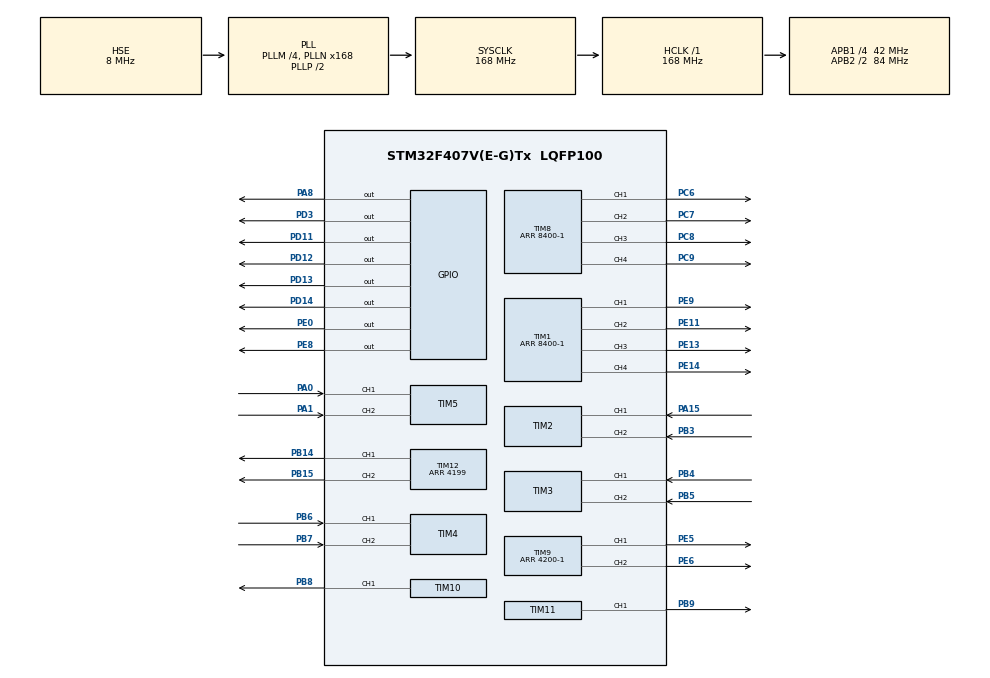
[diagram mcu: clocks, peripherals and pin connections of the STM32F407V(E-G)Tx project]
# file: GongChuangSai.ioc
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Mcu.Family=STM32F4
Mcu.Name=STM32F407V(E-G)Tx
Mcu.Package=LQFP100
NVIC.PriorityGroup=NVIC_PRIORITYGROUP_4
NVIC.TIM6_DAC_IRQn=true\:4\:0\:true\:false\:true\:true\:true\:true
PA0-WKUP.Signal=S_TIM5_CH1
PA1.Signal=S_TIM5_CH2
PA13.Mode=Serial_Wire
PA13.Signal=SYS_JTMS-SWDIO
PA14.Mode=Serial_Wire
PA14.Signal=SYS_JTCK-SWCLK
PA15.Signal=S_TIM2_CH1_ETR
PA8.Signal=GPIO_Output
PB14.Signal=S_TIM12_CH1
PB15.Signal=S_TIM12_CH2
PB3.Signal=S_TIM2_CH2
PB4.Signal=S_TIM3_CH1
PB5.Signal=S_TIM3_CH2
PB6.Signal=S_TIM4_CH1
PB7.Signal=S_TIM4_CH2
PB8.Signal=S_TIM10_CH1
PB9.Signal=S_TIM11_CH1
PC6.Signal=S_TIM8_CH1
PC7.Signal=S_TIM8_CH2
PC8.Signal=S_TIM8_CH3
PC9.Signal=S_TIM8_CH4
PD11.Signal=GPIO_Output
PD12.Signal=GPIO_Output
PD13.Signal=GPIO_Output
PD14.Signal=GPIO_Output
PD3.Signal=GPIO_Output
PE0.Signal=GPIO_Output
PE11.Signal=S_TIM1_CH2
PE13.Signal=S_TIM1_CH3
PE14.Signal=S_TIM1_CH4
PE5.Signal=S_TIM9_CH1
PE6.Signal=S_TIM9_CH2
PE8.Signal=GPIO_Output
PE9.Signal=S_TIM1_CH1
PH0-OSC_IN.Mode=HSE-External-Oscillator
PH0-OSC_IN.Signal=RCC_OSC_IN
PH1-OSC_OUT.Mode=HSE-External-Oscillator
PH1-OSC_OUT.Signal=RCC_OSC_OUT
ProjectManager.HeapSize=0x200
ProjectManager.StackSize=0x400
ProjectManager.TargetToolchain=MDK-ARM V5.32
RCC.48MHZClocksFreq_Value=84000000
RCC.AHBFreq_Value=168000000
RCC.APB1CLKDivider=RCC_HCLK_DIV4
RCC.APB1Freq_Value=42000000
RCC.APB1TimFreq_Value=84000000
RCC.APB2CLKDivider=RCC_HCLK_DIV2
RCC.APB2Freq_Value=84000000
RCC.APB2TimFreq_Value=168000000
RCC.CortexFreq_Value=168000000
RCC.HCLKFreq_Value=168000000
RCC.HSE_VALUE=8000000
RCC.HSI_VALUE=16000000
RCC.LSE_VALUE=32768
RCC.PLLM=4
RCC.PLLN=168
RCC.PLLSourceVirtual=RCC_PLLSOURCE_HSE
RCC.SYSCLKFreq_VALUE=168000000
RCC.SYSCLKSource=RCC_SYSCLKSOURCE_PLLCLK
RCC.VCOOutputFreq_Value=336000000
SH.S_TIM10_CH1.0=TIM10_CH1,PWM Generation1 CH1
SH.S_TIM11_CH1.0=TIM11_CH1,PWM Generation1 CH1
SH.S_TIM12_CH1.0=TIM12_CH1,PWM Generation1 CH1
SH.S_TIM12_CH2.0=TIM12_CH2,PWM Generation2 CH2
SH.S_TIM1_CH1.0=TIM1_CH1,PWM Generation1 CH1
SH.S_TIM1_CH2.0=TIM1_CH2,PWM Generation2 CH2
SH.S_TIM1_CH3.0=TIM1_CH3,PWM Generation3 CH3
SH.S_TIM1_CH4.0=TIM1_CH4,PWM Generation4 CH4
SH.S_TIM2_CH1_ETR.0=TIM2_CH1,Encoder_Interface
SH.S_TIM2_CH2.0=TIM2_CH2,Encoder_Interface
SH.S_TIM3_CH1.0=TIM3_CH1,Encoder_Interface
SH.S_TIM3_CH2.0=TIM3_CH2,Encoder_Interface
SH.S_TIM4_CH1.0=TIM4_CH1,Encoder_Interface
SH.S_TIM4_CH2.0=TIM4_CH2,Encoder_Interface
SH.S_TIM5_CH1.0=TIM5_CH1,Encoder_Interface
SH.S_TIM5_CH2.0=TIM5_CH2,Encoder_Interface
SH.S_TIM8_CH1.0=TIM8_CH1,PWM Generation1 CH1
SH.S_TIM8_CH2.0=TIM8_CH2,PWM Generation2 CH2
SH.S_TIM8_CH3.0=TIM8_CH3,PWM Generation3 CH3
SH.S_TIM8_CH4.0=TIM8_CH4,PWM Generation4 CH4
SH.S_TIM9_CH1.0=TIM9_CH1,PWM Generation1 CH1
SH.S_TIM9_CH2.0=TIM9_CH2,PWM Generation2 CH2
TIM1.AutoReloadPreload=TIM_AUTORELOAD_PRELOAD_ENABLE
TIM1.Channel-PWM\ Generation1\ CH1=TIM_CHANNEL_1
TIM1.Channel-PWM\ Generation2\ CH2=TIM_CHANNEL_2
TIM1.Channel-PWM\ Generation3\ CH3=TIM_CHANNEL_3
TIM1.Channel-PWM\ Generation4\ CH4=TIM_CHANNEL_4
TIM1.Period=8400-1
TIM10.AutoReloadPreload=TIM_AUTORELOAD_PRELOAD_ENABLE
TIM10.Channel=TIM_CHANNEL_1
TIM10.Period=4200-1
TIM11.AutoReloadPreload=TIM_AUTORELOAD_PRELOAD_ENABLE
TIM11.Channel=TIM_CHANNEL_1
TIM11.Period=4200-1
TIM12.Channel-PWM\ Generation1\ CH1=TIM_CHANNEL_1
TIM12.Channel-PWM\ Generation2\ CH2=TIM_CHANNEL_2
TIM12.Period=4199
TIM2.EncoderMode=TIM_ENCODERMODE_TI12
TIM2.IC1Filter=6
TIM2.IC2Filter=6
TIM3.EncoderMode=TIM_ENCODERMODE_TI12
TIM3.IC1Filter=6
TIM3.IC2Filter=6
TIM4.EncoderMode=TIM_ENCODERMODE_TI12
TIM4.IC1Filter=6
TIM4.IC2Filter=6
TIM5.EncoderMode=TIM_ENCODERMODE_TI12
TIM5.IC1Filter=6
TIM5.IC2Filter=6
TIM6.Period=999
TIM6.Prescaler=83+1
TIM8.AutomaticOutput=TIM_AUTOMATICOUTPUT_DISABLE
TIM8.BreakState=TIM_BREAK_DISABLE
TIM8.Channel-PWM\ Generation1\ CH1=TIM_CHANNEL_1
TIM8.Channel-PWM\ Generation2\ CH2=TIM_CHANNEL_2
TIM8.Channel-PWM\ Generation3\ CH3=TIM_CHANNEL_3
TIM8.Channel-PWM\ Generation4\ CH4=TIM_CHANNEL_4
TIM8.LockLevel=TIM_LOCKLEVEL_OFF
TIM8.OffStateIDLEMode=TIM_OSSI_DISABLE
TIM8.OffStateRunMode=TIM_OSSR_DISABLE
TIM8.Period=8400-1
TIM9.AutoReloadPreload=TIM_AUTORELOAD_PRELOAD_ENABLE
TIM9.Channel-PWM\ Generation1\ CH1=TIM_CHANNEL_1
TIM9.Channel-PWM\ Generation2\ CH2=TIM_CHANNEL_2
TIM9.Period=4200-1
VP_TIM10_VS_ClockSourceINT.Mode=Enable_Timer
VP_TIM11_VS_ClockSourceINT.Mode=Enable_Timer
VP_TIM6_VS_ClockSourceINT.Mode=Enable_Timer
VP_TIM8_VS_ClockSourceINT.Mode=Internal
board=custom

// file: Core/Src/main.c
/* USER CODE BEGIN Header */
/**
  ******************************************************************************
  * @file           : main.c
  * @brief          : Main program body
  ******************************************************************************
  * @attention
  *
  * Copyright (c) 2026 STMicroelectronics.
  * All rights reserved.
  *
  * This software is licensed under terms that can be found in the LICENSE file
  * in the root directory of this software component.
  * If no LICENSE file comes with this software, it is provided AS-IS.
  *
  ******************************************************************************
  */
/* USER CODE END Header */
#include "main.h"
#include "tim.h"
#include "gpio.h"
#include "stm32f4xx_hal.h"
#include "bsp_oled.h"
#include <stdlib.h>
/* USER CODE BEGIN Includes */
#include "motor.h"
#include "mecanum_chassis.h"

/* USER CODE END Includes */

/* USER CODE BEGIN PV */
Motor_t motor_left_front;   // 电机A = 左前轮
Motor_t motor_right_front;  // 电机B = 右前轮
Motor_t motor_left_back;    // 电机C = 左后轮
Motor_t motor_right_back;   // 电机D = 右后轮

MecanumChassis_t chassis;

/* USER CODE END PV */

void SystemClock_Config(void);

/* USER CODE BEGIN 0 */
#define PULSE_PER_METER  6500    /* 实测：走1米约6500脉冲 */
#define SPEED            1000    /* 前进速度，脉冲/秒 */
/* USER CODE END 0 */

int main(void)
{

  /* USER CODE BEGIN 1 */
   int32_t enc_start = (int32_t)__HAL_TIM_GET_COUNTER(&htim2);   /* A轮编码器 */
  /* USER CODE END 1 */

  /* MCU Configuration--------------------------------------------------------*/

  /* Reset of all peripherals, Initializes the Flash interface and the Systick. */
  HAL_Init();

  /* Configure the system clock */
  SystemClock_Config();

  /* Initialize all configured peripherals */
  MX_GPIO_Init();
  MX_TIM1_Init();
  MX_TIM2_Init();
  MX_TIM3_Init();
  MX_TIM4_Init();
  MX_TIM5_Init();
  MX_TIM6_Init();
  MX_TIM9_Init();
  MX_TIM10_Init();
  MX_TIM11_Init();
  MX_TIM12_Init();
  MX_TIM8_Init();
  /* USER CODE BEGIN 2 */
	OLED_Init();
	/* 3. 高级定时器TIM1开启主输出（必须！否则无PWM） */
	__HAL_TIM_MOE_ENABLE(&htim1);

    /* 4. 四个电机初始化（完全对应引脚表） */
    // 电机A（左前）：PWM=TIM10_CH1+TIM11_CH1；编码器=TIM2
    Motor_Init(&motor_left_front,
               &htim10, TIM_CHANNEL_1,  4199,
               &htim11, TIM_CHANNEL_1,  4199,
               &htim2,
               4.0f, 0.1f, 0.0f,1,1
               );

    // 电机B（右前）：PWM=TIM9_CH1+TIM9_CH2；编码器=TIM3
    Motor_Init(&motor_right_front,
               &htim9, TIM_CHANNEL_1,  4199,
               &htim9, TIM_CHANNEL_2,  4199,
               &htim3,
               4.0f, 0.1f, 0.0f,1,-1
               );

    // 电机C（左后）：PWM=TIM1_CH1+TIM1_CH2；编码器=TIM4
    Motor_Init(&motor_left_back,
               &htim1, TIM_CHANNEL_1,  8399,
               &htim1, TIM_CHANNEL_2,  8399,
               &htim4,
               4.0f, 0.1f, 0.0f,-1,1
               );

    // 电机D（右后）：PWM=TIM1_CH3+TIM1_CH4；编码器=TIM5
    Motor_Init(&motor_right_back,
               &htim1, TIM_CHANNEL_3,  8399,
               &htim1, TIM_CHANNEL_4,  8399,
               &htim5,
               4.0f, 0.1f, 0.0f,-1,-1
               );

//kp	比例增益	越大响应越快，但过大会振荡
//ki	积分增益	消除稳态误差，过大会超调/积分饱和
//kd	微分增益	抑制超调，但对噪声敏感

    /* 5. 底盘初始化 */
    MecanumChassis_Init(&chassis,
                        &motor_left_front, &motor_right_front,
                        &motor_left_back, &motor_right_back,
                        0.04f, 0.093f, 0.11f,
                        1.0f, 440.0f);
//wheel_radius		    轮子半径						m			卡尺测量，如 50mm 轮子 = 0.05f
//wheel_base_half	    半轴距（前后轮中心距的一半）	m			测量前后轮中心距离 ÷ 2
//track_width_half	    半轮距（左右轮中心距的一半）	m			测量左右轮中心距离 ÷ 2
//gear_ratio			减速比							—			这里直接填1
//enc_ppr_x4			编码器 4 倍频每转脉冲数			—			编码器线数 × 4，如 500 线 = 2000.0f

	/* 6. 配置位置环PID参数（示例值，需现场整定） */
	chassis.pid_x.kp = 3.0f;
    chassis.pid_x.ki = 0.2f;
    chassis.pid_x.kd = 0.1f;
    chassis.pid_x.integral_max = 0.5f;
    chassis.pid_x.output_max = 1.0f;

    chassis.pid_y.kp = 3.0f;
    chassis.pid_y.ki = 0.2f;
    chassis.pid_y.kd = 0.1f;
    chassis.pid_y.integral_max = 0.5f;
    chassis.pid_y.output_max = 1.0f;

    chassis.pid_theta.kp = 2.0f;
    chassis.pid_theta.ki = 0.1f;
    chassis.pid_theta.kd = 0.05f;
    chassis.pid_theta.integral_max = 1.0f;
    chassis.pid_theta.output_max = PI;

	 /* 7. 开启1ms定时中断（最后开，防止初始化未完成触发中断） */
    HAL_TIM_Base_Start_IT(&htim6);

	uint32_t last_tick = 0;
  /* USER CODE END 2 */

  /* Infinite loop */
  /* USER CODE BEGIN WHILE */
  while (1)
  {
//	  int32_t now = (int32_t)__HAL_TIM_GET_COUNTER(&htim2);

//	  if (now - enc_start <= PULSE_PER_METER)
//	{
	     Mecanum_Move(&chassis, 0.0f, 0.0f, 3.0f);
//	}
    /* USER CODE END WHILE */
    /* 每 150ms 刷新一次编码器显示 */

//    if (now - enc_start >= PULSE_PER_METER)   /* 只判断A轮 */
//    {
//        Motor_SetTargetSpeed(&motor_left_front, 0);
//        Motor_SetTargetSpeed(&motor_right_front, 0);
//        Motor_SetTargetSpeed(&motor_left_back, 0);
//        Motor_SetTargetSpeed(&motor_right_back, 0);
//    }

	     if (HAL_GetTick() - last_tick >= 150)
        {
            last_tick = HAL_GetTick();
            //Chassis_Display_AllEncoder(&chassis);
			//Chassis_Display_MotorSpeed(&chassis);   /* ★ 换成这个 */
			Chassis_Display_Speed(&chassis);   /* ★ 只调这一个 */
        }
  }
}

void SystemClock_Config(void)
{
  RCC_OscInitTypeDef RCC_OscInitStruct = {0};
  RCC_ClkInitTypeDef RCC_ClkInitStruct = {0};

  /** Configure the main internal regulator output voltage
  */
  __HAL_RCC_PWR_CLK_ENABLE();
  __HAL_PWR_VOLTAGESCALING_CONFIG(PWR_REGULATOR_VOLTAGE_SCALE1);

  /** Initializes the RCC Oscillators according to the specified parameters
  * in the RCC_OscInitTypeDef structure.
  */
  RCC_OscInitStruct.OscillatorType = RCC_OSCILLATORTYPE_HSE;
  RCC_OscInitStruct.HSEState = RCC_HSE_ON;
  RCC_OscInitStruct.PLL.PLLState = RCC_PLL_ON;
  RCC_OscInitStruct.PLL.PLLSource = RCC_PLLSOURCE_HSE;
  RCC_OscInitStruct.PLL.PLLM = 4;
  RCC_OscInitStruct.PLL.PLLN = 168;
  RCC_OscInitStruct.PLL.PLLP = RCC_PLLP_DIV2;
  RCC_OscInitStruct.PLL.PLLQ = 4;
  if (HAL_RCC_OscConfig(&RCC_OscInitStruct) != HAL_OK)
  {
    Error_Handler();
  }

  /** Initializes the CPU, AHB and APB buses clocks
  */
  RCC_ClkInitStruct.ClockType = RCC_CLOCKTYPE_HCLK|RCC_CLOCKTYPE_SYSCLK
                              |RCC_CLOCKTYPE_PCLK1|RCC_CLOCKTYPE_PCLK2;
  RCC_ClkInitStruct.SYSCLKSource = RCC_SYSCLKSOURCE_PLLCLK;
  RCC_ClkInitStruct.AHBCLKDivider = RCC_SYSCLK_DIV1;
  RCC_ClkInitStruct.APB1CLKDivider = RCC_HCLK_DIV4;
  RCC_ClkInitStruct.APB2CLKDivider = RCC_HCLK_DIV2;

  if (HAL_RCC_ClockConfig(&RCC_ClkInitStruct, FLASH_LATENCY_5) != HAL_OK)
  {
    Error_Handler();
  }
}

/* USER CODE BEGIN 4 */
void HAL_TIM_PeriodElapsedCallback(TIM_HandleTypeDef *htim)
{
    static uint8_t chassis_cnt = 0;

    if (htim->Instance == TIM6)
    {
		static uint8_t speed_cnt = 0;

        speed_cnt++;
        if (speed_cnt >= 1)     /* 每 1ms 测一次 */
        /* 1ms：4路电机速度环闭环 */
        {
		speed_cnt = 0;
		Motor_Update(&motor_left_front,  0.001f);
        Motor_Update(&motor_right_front, 0.001f);
        Motor_Update(&motor_left_back,   0.001f);
        Motor_Update(&motor_right_back,  0.001f);
		}
        /* 10ms：底盘运动学+位置环 */
        chassis_cnt++;
        if (chassis_cnt >= 10)
        {
            chassis_cnt = 0;
            MecanumChassis_Loop(&chassis, 0.01f);
        }
    }
}
/* USER CODE END 4 */

void Error_Handler(void)
{
  __disable_irq();
  while (1)
  {
  }
}
